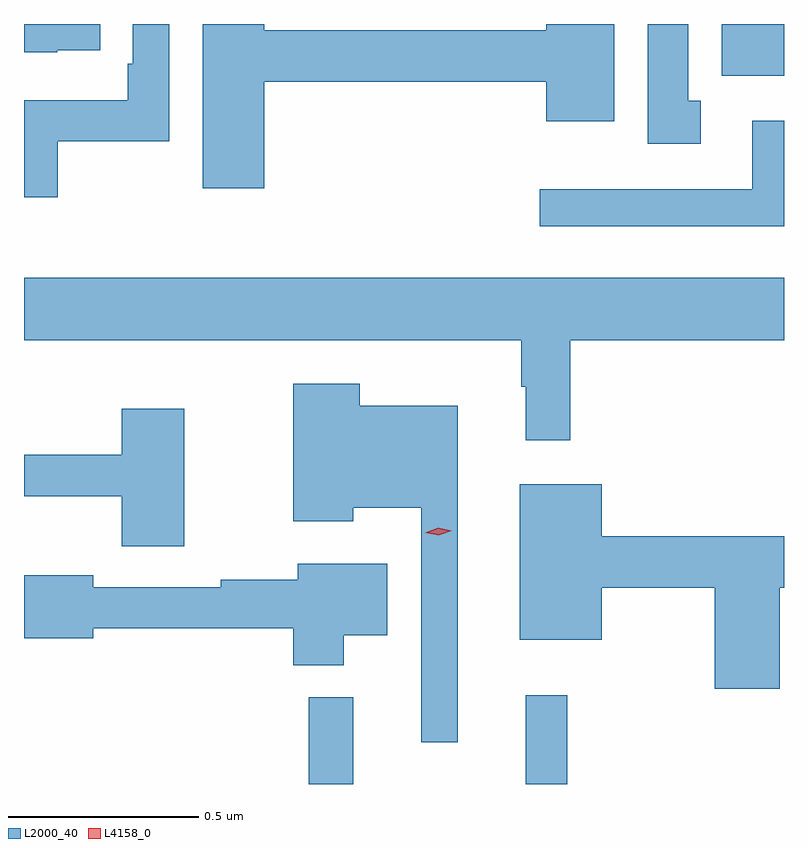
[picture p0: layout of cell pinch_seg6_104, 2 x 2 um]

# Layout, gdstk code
import gdstk
lib = gdstk.Library(unit=1e-6, precision=1e-09)
def R(c, l, rs):  # rectangles x0, y0, x1, y1
    for r in rs: c.add(gdstk.rectangle(r[:2], r[2:], *l))
def P(c, l, *ps):  # polygons
    for p in ps: c.add(gdstk.Polygon(p, *l))
L2000_40 = (2000, 40)
L4158_0 = (4158, 0)

pinch_seg6_104 = lib.new_cell('pinch_seg6_104')
R(pinch_seg6_104, L2000_40, [(900.649,920.86,900.767,921.088), (901.22,920.86,901.33,921.094), (901.736,922.724,901.9,922.86)])
P(pinch_seg6_104, L2000_40, [(900.532,922.708),(901.274,922.708),(901.274,922.604),(901.453,922.604),(901.453,922.86),(901.274,922.86),(901.274,922.844),(900.532,922.844),(900.532,922.86),(900.371,922.86),(900.371,922.428),(900.532,922.428)],
  [(899.989,922.551),(900.282,922.551),(900.282,922.86),(900.186,922.86),(900.186,922.756),(900.173,922.756),(900.173,922.66),(899.9,922.66),(899.9,922.404),(899.989,922.404)],
  [(899.987,922.791),(900.1,922.791),(900.1,922.86),(899.9,922.86),(899.9,922.786),(899.987,922.786)],
  [(901.681,922.658),(901.648,922.658),(901.648,922.86),(901.541,922.86),(901.541,922.545),(901.681,922.545)],
  [(901.9,922.606),(901.817,922.606),(901.817,922.425),(901.257,922.425),(901.257,922.328),(901.9,922.328)],
  [(901.337,922.028),(901.9,922.028),(901.9,922.192),(899.9,922.192),(899.9,922.028),(901.209,922.028),(901.209,921.905),(901.22,921.905),(901.22,921.765),(901.337,921.765)],
  [(901.042,921.856),(900.783,921.856),(900.783,921.913),(900.608,921.913),(900.608,921.551),(900.766,921.551),(900.766,921.587),(900.945,921.587),(900.945,920.97),(901.042,920.97)],
  [(900.322,921.847),(900.157,921.847),(900.157,921.727),(899.9,921.727),(899.9,921.617),(900.157,921.617),(900.157,921.486),(900.322,921.486)],
  [(901.889,921.376),(901.9,921.376),(901.9,921.512),(901.42,921.512),(901.42,921.649),(901.205,921.649),(901.205,921.239),(901.42,921.239),(901.42,921.376),(901.718,921.376),(901.718,921.111),(901.889,921.111)],
  [(900.742,921.251),(900.856,921.251),(900.856,921.439),(900.62,921.439),(900.62,921.398),(900.418,921.398),(900.418,921.378),(900.082,921.378),(900.082,921.409),(899.9,921.409),(899.9,921.244),(900.082,921.244),(900.082,921.27),(900.608,921.27),(900.608,921.173),(900.742,921.173)])
P(pinch_seg6_104, L4158_0, [(900.992,921.514),(900.956,921.521),(900.955,921.521),(900.956,921.521),(900.99,921.534),(901.026,921.526),(901.026,921.526),(901.026,921.526)])

lib.write_gds('pinch_seg6_104.gds')
